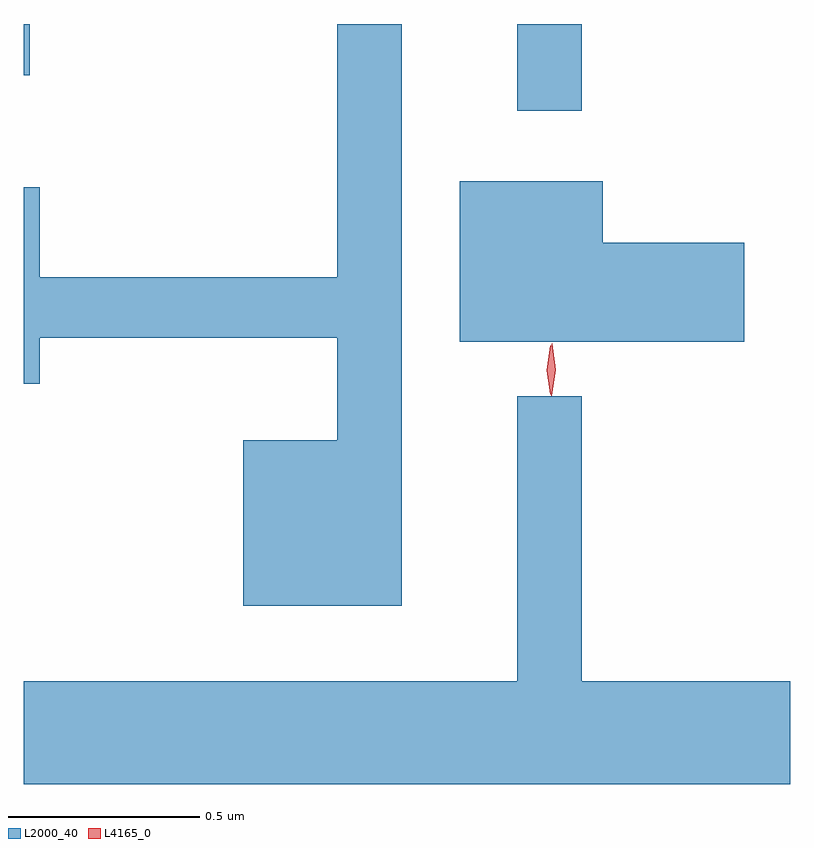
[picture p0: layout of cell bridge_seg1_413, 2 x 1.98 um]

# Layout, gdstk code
import gdstk
lib = gdstk.Library(unit=1e-6, precision=1e-09)
def R(c, l, rs):  # rectangles x0, y0, x1, y1
    for r in rs: c.add(gdstk.rectangle(r[:2], r[2:], *l))
def P(c, l, *ps):  # polygons
    for p in ps: c.add(gdstk.Polygon(p, *l))
L2000_40 = (2000, 40)
L4165_0 = (4165, 0)

bridge_seg1_413 = lib.new_cell('bridge_seg1_413')
R(bridge_seg1_413, L2000_40, [(440.971,965.713,441.139,965.94), (439.683,965.806,439.698,965.94)])
P(bridge_seg1_413, L2000_40, [(440.669,965.94),(440.501,965.94),(440.501,965.279),(439.724,965.279),(439.724,965.514),(439.683,965.514),(439.683,965.001),(439.724,965.001),(439.724,965.121),(440.501,965.121),(440.501,964.854),(440.256,964.854),(440.256,964.421),(440.669,964.421)],
  [(441.564,965.369),(441.194,965.369),(441.194,965.529),(440.821,965.529),(440.821,965.111),(441.564,965.111)],
  [(441.683,964.224),(441.139,964.224),(441.139,964.968),(440.971,964.968),(440.971,964.224),(439.683,964.224),(439.683,963.956),(441.683,963.956)])
P(bridge_seg1_413, L4165_0, [(441.06,964.97),(441.06,964.97),(441.051,965.038),(441.061,965.105),(441.062,965.106),(441.062,965.105),(441.071,965.038),(441.061,964.97)],
  [(441.058,964.973),(441.057,964.974),(441.048,965.036),(441.057,965.1),(441.058,965.1),(441.058,965.1),(441.068,965.036),(441.058,964.974)])

lib.write_gds('bridge_seg1_413.gds')
